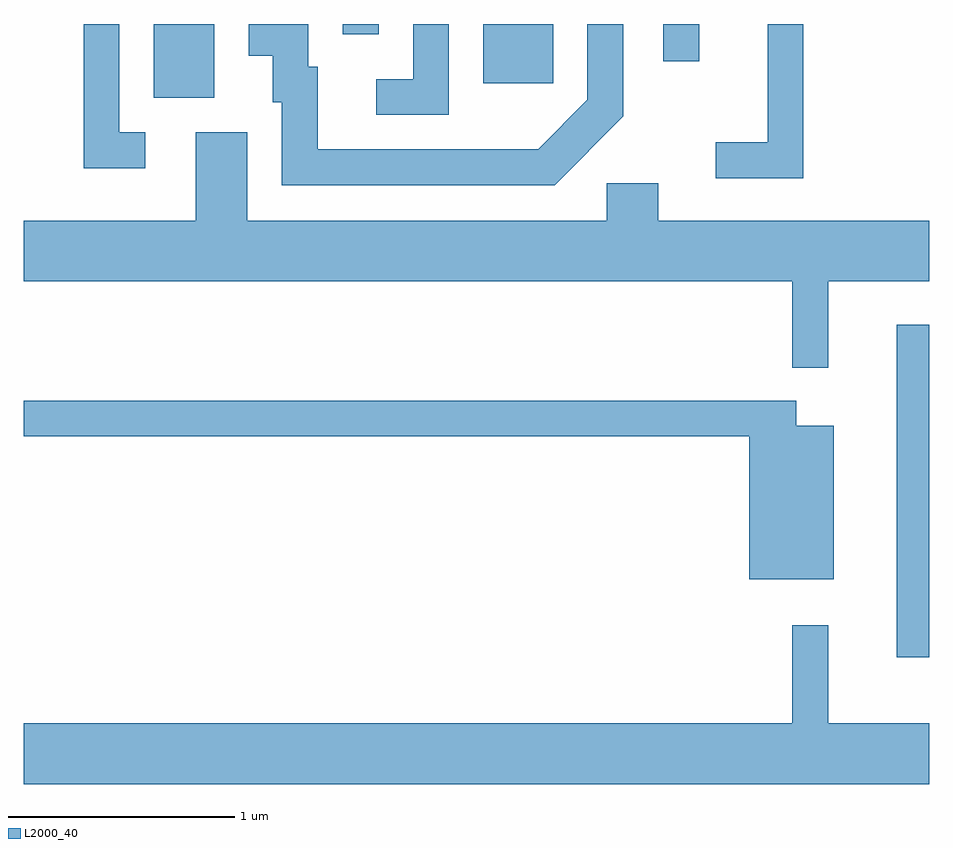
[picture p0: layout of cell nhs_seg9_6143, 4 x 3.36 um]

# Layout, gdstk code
import gdstk
lib = gdstk.Library(unit=1e-6, precision=1e-09)
def R(c, l, rs):  # rectangles x0, y0, x1, y1
    for r in rs: c.add(gdstk.rectangle(r[:2], r[2:], *l))
def P(c, l, *ps):  # polygons
    for p in ps: c.add(gdstk.Polygon(p, *l))
L2000_40 = (2000, 40)

nhs_seg9_6143 = lib.new_cell('nhs_seg9_6143')
R(nhs_seg9_6143, L2000_40, [(369.466,2065.636,369.611,2067.103), (366.186,2068.106,366.454,2068.432), (367.641,2068.171,367.949,2068.432), (368.436,2068.268,368.594,2068.432), (367.021,2068.387,367.179,2068.432)])
P(nhs_seg9_6143, L2000_40, [(369.054,2068.432),(368.896,2068.432),(368.896,2067.909),(368.668,2067.909),(368.668,2067.751),(369.054,2067.751)],
  [(366.148,2067.954),(366.034,2067.954),(366.034,2068.432),(365.876,2068.432),(365.876,2067.796),(366.148,2067.796)],
  [(367.489,2068.432),(367.331,2068.432),(367.331,2068.189),(367.168,2068.189),(367.168,2068.031),(367.489,2068.031)],
  [(368.259,2068.024),(368.259,2068.432),(368.101,2068.432),(368.101,2068.097),(367.884,2067.879),(366.909,2067.879),(366.909,2068.244),(366.869,2068.244),(366.869,2068.432),(366.606,2068.432),(366.606,2068.291),(366.711,2068.291),(366.711,2068.086),(366.751,2068.086),(366.751,2067.721),(367.957,2067.721)],
  [(369.164,2067.296),(369.611,2067.296),(369.611,2067.564),(368.414,2067.564),(368.414,2067.729),(368.186,2067.729),(368.186,2067.564),(366.599,2067.564),(366.599,2067.954),(366.371,2067.954),(366.371,2067.564),(365.611,2067.564),(365.611,2067.296),(369.006,2067.296),(369.006,2066.913),(369.164,2066.913)],
  [(369.189,2066.659),(369.024,2066.659),(369.024,2066.769),(365.611,2066.769),(365.611,2066.611),(368.816,2066.611),(368.816,2065.981),(369.189,2065.981)],
  [(369.611,2065.344),(369.164,2065.344),(369.164,2065.778),(369.006,2065.778),(369.006,2065.344),(365.611,2065.344),(365.611,2065.076),(369.611,2065.076)])

lib.write_gds('nhs_seg9_6143.gds')
